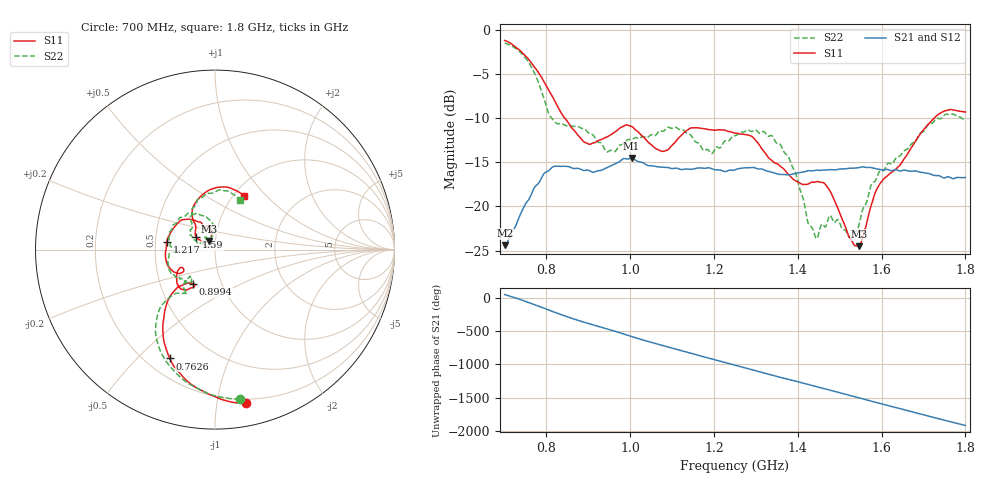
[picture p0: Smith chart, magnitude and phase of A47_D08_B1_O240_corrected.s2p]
! Created with skrf 1.9.0 (http://scikit-rf.org).
# Hz S RI R 50.0
!freq ReS11 ImS11 ReS21 ImS21 ReS12 ImS12 ReS22 ImS22
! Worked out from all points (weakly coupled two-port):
!   1601 points, 700 MHz to 1.8 GHz, reference 50 ohm
!   highest |S21| = -14.51 dB at 1.003 GHz (marker M1); lowest = -24.4 dB at 700.7 MHz (marker M2)
!   lowest |S11| = -24.5 dB at 1.546 GHz (marker M3), VSWR 1.13, Z = 46.4 + j4.47 ohm
!   |S11| at or under -10 dB: 844 MHz to 1.725 GHz (881 MHz wide, 68.6 % of centre)
!   |S22| runs from -23.6 to -1.5 dB; largest |S21 - S12| = 0.0036
!   S11 on the Smith chart (normalised r, x): 700 MHz: 0.17, -1.21; 762.6 MHz: 0.29, -0.63; 899.4 MHz: 0.73, -0.29; 1.217 GHz: 0.58, +0.05; 1.59 GHz: 0.80, +0.12; 1.8 GHz: 1.12, +0.76
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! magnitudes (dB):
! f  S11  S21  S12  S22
! 700 MHz  -1.2  -24.4  -24.2  -1.5
! 700.7 MHz  -1.2  -24.4  -24.1  -1.5
! 762.6 MHz  -3.7  -18.7  -18.7  -4.1
! 814.1 MHz  -7.5  -15.5  -15.6  -10.1
! 883.6 MHz  -12.4  -15.8  -15.7  -11.1
! 899.4 MHz  -12.9  -15.9  -15.9  -11.6
! 945.4 MHz  -12.1  -15.6  -15.6  -13.8
! 1.003 GHz  -10.9  -14.5  -14.6  -12.4
! 1.067 GHz  -13.6  -15.5  -15.5  -11.5
! 1.144 GHz  -11.1  -15.8  -15.8  -11.9
! 1.217 GHz  -11.3  -15.9  -15.9  -13.2
! 1.25 GHz  -11.7  -15.8  -15.8  -12.0
! 1.358 GHz  -15.4  -16.4  -16.3  -13.0
! 1.394 GHz  -17.1  -16.3  -16.3  -16.1
! 1.434 GHz  -17.2  -16.0  -15.9  -22.4
! 1.47 GHz  -17.8  -15.8  -15.8  -21.8
! 1.524 GHz  -23.6  -15.7  -15.7  -23.5
! 1.546 GHz  -24.5  -15.6  -15.6  -22.1
! 1.59 GHz  -17.9  -15.8  -15.7  -16.5
! 1.617 GHz  -16.4  -15.9  -15.8  -15.1
! 1.733 GHz  -9.7  -16.5  -16.5  -10.0
! 1.8 GHz  -9.3  -16.7  -16.7  -10.1
